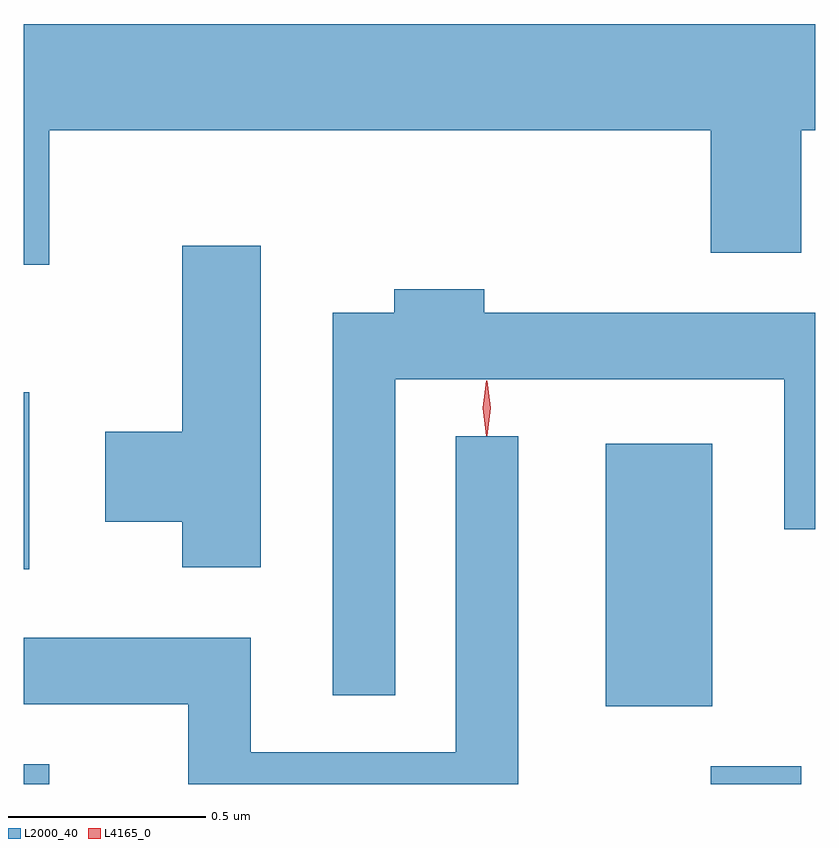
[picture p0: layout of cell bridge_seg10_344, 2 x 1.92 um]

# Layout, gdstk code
import gdstk
lib = gdstk.Library(unit=1e-6, precision=1e-09)
def R(c, l, rs):  # rectangles x0, y0, x1, y1
    for r in rs: c.add(gdstk.rectangle(r[:2], r[2:], *l))
def P(c, l, *ps):  # polygons
    for p in ps: c.add(gdstk.Polygon(p, *l))
L2000_40 = (2000, 40)
L4165_0 = (4165, 0)

bridge_seg10_344 = lib.new_cell('bridge_seg10_344')
R(bridge_seg10_344, L2000_40, [(1420.725,2176.644,1420.789,2176.694), (1422.461,2176.644,1422.689,2176.689), (1422.196,2176.841,1422.464,2177.504), (1420.725,2177.186,1420.739,2177.634)])
P(bridge_seg10_344, L2000_40, [(1420.789,2178.296),(1422.461,2178.296),(1422.461,2177.986),(1422.689,2177.986),(1422.689,2178.296),(1422.725,2178.296),(1422.725,2178.564),(1420.725,2178.564),(1420.725,2177.956),(1420.789,2177.956)],
  [(1421.324,2178.004),(1421.126,2178.004),(1421.126,2177.534),(1420.931,2177.534),(1420.931,2177.306),(1421.126,2177.306),(1421.126,2177.191),(1421.324,2177.191)],
  [(1421.664,2177.666),(1422.646,2177.666),(1422.646,2177.288),(1422.725,2177.288),(1422.725,2177.834),(1421.889,2177.834),(1421.889,2177.894),(1421.661,2177.894),(1421.661,2177.834),(1421.506,2177.834),(1421.506,2176.868),(1421.664,2176.868)],
  [(1421.974,2177.523),(1421.816,2177.523),(1421.816,2176.724),(1421.299,2176.724),(1421.299,2177.014),(1420.725,2177.014),(1420.725,2176.846),(1421.141,2176.846),(1421.141,2176.644),(1421.974,2176.644)])
P(bridge_seg10_344, L4165_0, [(1421.895,2177.527),(1421.894,2177.528),(1421.885,2177.594),(1421.894,2177.66),(1421.895,2177.661),(1421.896,2177.66),(1421.905,2177.594),(1421.896,2177.528)],
  [(1421.894,2177.524),(1421.885,2177.593),(1421.894,2177.663),(1421.895,2177.663),(1421.896,2177.663),(1421.905,2177.593),(1421.896,2177.524),(1421.895,2177.524)])

lib.write_gds('bridge_seg10_344.gds')
